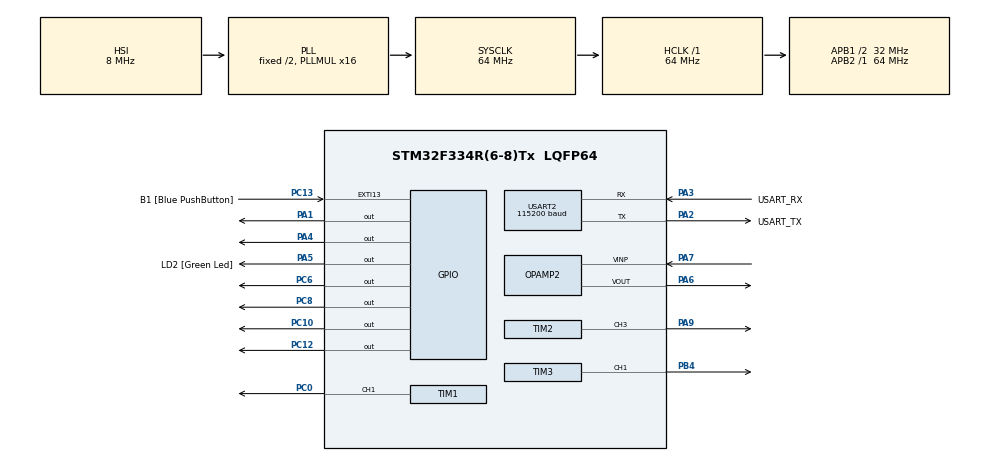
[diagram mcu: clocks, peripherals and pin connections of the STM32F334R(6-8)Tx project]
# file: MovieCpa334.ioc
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ADC2.Channel-0\#ChannelRegularConversion=ADC_CHANNEL_VOPAMP2
ADC2.ClockPrescaler=ADC_CLOCK_ASYNC
ADC2.ContinuousConvMode=ENABLE
ADC2.DMAContinuousRequests=ENABLE
ADC2.DataAlign=ADC_DATAALIGN_RIGHT
ADC2.DiscontinuousConvMode=DISABLE
ADC2.EOCSelection=EOC_SINGLE_CONV
ADC2.EnableAnalogWatchDog1=false
ADC2.EnableAnalogWatchDog2=false
ADC2.EnableAnalogWatchDog3=false
ADC2.EnableInjectedConversion=DISABLE
ADC2.EnableRegularConversion=ENABLE
ADC2.ExternalTrigConvEdge=ADC_EXTERNALTRIGCONVEDGE_NONE
ADC2.LowPowerAutoWait=DISABLE
ADC2.NbrOfConversion=1
ADC2.NbrOfConversionFlag=1
ADC2.Offset-0\#ChannelRegularConversion=0
ADC2.OffsetNumber-0\#ChannelRegularConversion=ADC_OFFSET_NONE
ADC2.Overrun=OVR_DATA_OVERWRITTEN
ADC2.Rank-0\#ChannelRegularConversion=1
ADC2.Resolution=ADC_RESOLUTION12b
ADC2.SamplingTime-0\#ChannelRegularConversion=ADC_SAMPLETIME_601CYCLES_5
ADC2.ScanConvMode=ADC_SCAN_DISABLE
Dma.ADC2.2.Direction=DMA_PERIPH_TO_MEMORY
Dma.ADC2.2.Instance=DMA1_Channel2
Dma.ADC2.2.MemDataAlignment=DMA_MDATAALIGN_HALFWORD
Dma.ADC2.2.MemInc=DMA_MINC_ENABLE
Dma.ADC2.2.Mode=DMA_CIRCULAR
Dma.ADC2.2.PeriphDataAlignment=DMA_PDATAALIGN_HALFWORD
Dma.ADC2.2.PeriphInc=DMA_PINC_DISABLE
Dma.ADC2.2.Priority=DMA_PRIORITY_LOW
Dma.Request0=USART2_RX
Dma.Request1=USART2_TX
Dma.Request2=ADC2
Dma.USART2_RX.0.Direction=DMA_PERIPH_TO_MEMORY
Dma.USART2_RX.0.Instance=DMA1_Channel6
Dma.USART2_RX.0.MemDataAlignment=DMA_MDATAALIGN_BYTE
Dma.USART2_RX.0.MemInc=DMA_MINC_ENABLE
Dma.USART2_RX.0.Mode=DMA_CIRCULAR
Dma.USART2_RX.0.PeriphDataAlignment=DMA_PDATAALIGN_BYTE
Dma.USART2_RX.0.PeriphInc=DMA_PINC_DISABLE
Dma.USART2_RX.0.Priority=DMA_PRIORITY_MEDIUM
Dma.USART2_TX.1.Direction=DMA_MEMORY_TO_PERIPH
Dma.USART2_TX.1.Instance=DMA1_Channel7
Dma.USART2_TX.1.MemDataAlignment=DMA_MDATAALIGN_BYTE
Dma.USART2_TX.1.MemInc=DMA_MINC_ENABLE
Dma.USART2_TX.1.Mode=DMA_NORMAL
Dma.USART2_TX.1.PeriphDataAlignment=DMA_PDATAALIGN_BYTE
Dma.USART2_TX.1.PeriphInc=DMA_PINC_DISABLE
Dma.USART2_TX.1.Priority=DMA_PRIORITY_LOW
Mcu.Family=STM32F3
Mcu.Name=STM32F334R(6-8)Tx
Mcu.Package=LQFP64
NVIC.DMA1_Channel2_IRQn=true\:1\:0\:true
NVIC.DMA1_Channel6_IRQn=true\:2\:0\:true
NVIC.DMA1_Channel7_IRQn=true\:0\:0\:true
NVIC.PriorityGroup=NVIC_PRIORITYGROUP_2
PA1.Signal=GPIO_Output
PA13.GPIO_Label=TMS
PA13.Mode=Serial-Wire
PA13.Signal=SYS_JTMS-SWDIO
PA14.GPIO_Label=TCK
PA14.Mode=Serial-Wire
PA14.Signal=SYS_JTCK-SWCLK
PA2.GPIO_Label=USART_TX
PA2.Mode=Asynchronous
PA2.Signal=USART2_TX
PA3.GPIO_Label=USART_RX
PA3.Mode=Asynchronous
PA3.Signal=USART2_RX
PA4.Signal=GPIO_Output
PA5.GPIO_Label=LD2 [Green Led]
PA5.Signal=GPIO_Output
PA6.Mode=Follower
PA6.Signal=OPAMP2_VOUT
PA7.Mode=Follower
PA7.Signal=OPAMP2_VINP
PA9.Signal=S_TIM2_CH3
PB3.GPIO_Label=SWO
PB3.Signal=SYS_JTDO-TRACESWO
PB4.Signal=S_TIM3_CH1
PC0.Signal=S_TIM1_CH1
PC10.Signal=GPIO_Output
PC12.Signal=GPIO_Output
PC13.GPIO_Label=B1 [Blue PushButton]
PC13.GPIO_ModeDefaultEXTI=GPIO_MODE_EVT_RISING
PC13.Signal=GPXTI13
PC14\ /\ OSC32_IN.Signal=RCC_OSC32_IN
PC15\ /\ OSC32_OUT.GPIO_Label=RCC_OSC32_OUT
PC15\ /\ OSC32_OUT.Signal=RCC_OSC32_OUT
PC6.Signal=GPIO_Output
PC8.Signal=GPIO_Output
PF0\ /\ OSC_IN.Signal=RCC_OSC_IN
PF1\ /\ OSC_OUT.Signal=RCC_OSC_OUT
ProjectManager.HeapSize=0x400
ProjectManager.StackSize=0x200
ProjectManager.TargetToolchain=SW4STM32
RCC.AHBFreq_Value=64000000
RCC.APB1CLKDivider=RCC_HCLK_DIV2
RCC.APB1Freq_Value=32000000
RCC.APB1TimFreq_Value=64000000
RCC.APB2Freq_Value=64000000
RCC.APB2TimFreq_Value=64000000
RCC.CortexFreq_Value=64000000
RCC.FLatency-AdvancedSettings=FLASH_LATENCY_2
RCC.HCLKFreq_Value=64000000
RCC.HSE_VALUE=8000000
RCC.HSI_VALUE=8000000
RCC.LSE_VALUE=32768
RCC.PLLMUL=RCC_PLL_MUL16
RCC.SYSCLKFreq_VALUE=64000000
RCC.SYSCLKSourceVirtual=RCC_SYSCLKSOURCE_PLLCLK
SH.S_TIM1_CH1.0=TIM1_CH1,PWM Generation1 CH1
SH.S_TIM2_CH3.0=TIM2_CH3,PWM Generation3 CH3
SH.S_TIM3_CH1.0=TIM3_CH1,PWM Generation1 CH1
TIM1.ClockDivision=TIM_CLOCKDIVISION_DIV4
TIM1.Period=1000
TIM1.Prescaler=6
TIM1.Pulse-PWM\ Generation1\ CH1=500
TIM2.Channel-PWM\ Generation3\ CH3=TIM_CHANNEL_3
TIM2.ClockDivision=TIM_CLOCKDIVISION_DIV4
TIM2.Period=1000
TIM2.Prescaler=60
TIM2.Pulse-PWM\ Generation3\ CH3=500
USART2.BaudRate=115200
USART2.WordLength=UART_WORDLENGTH_8B
VP_ADC2_OPAMP_INTERNAL2.Mode=IN-OPAMP2
VP_TIM2_VS_ClockSourceINT.Mode=Internal
board=NUCLEO-F334R8

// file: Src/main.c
/**
  ******************************************************************************
  * File Name          : main.c
  * Description        : Main program body
  ******************************************************************************
  *
  * COPYRIGHT(c) 2016 STMicroelectronics
  *
  * Redistribution and use in source and binary forms, with or without modification,
  * are permitted provided that the following conditions are met:
  *   1. Redistributions of source code must retain the above copyright notice,
  *      this list of conditions and the following disclaimer.
  *   2. Redistributions in binary form must reproduce the above copyright notice,
  *      this list of conditions and the following disclaimer in the documentation
  *      and/or other materials provided with the distribution.
  *   3. Neither the name of STMicroelectronics nor the names of its contributors
  *      may be used to endorse or promote products derived from this software
  *      without specific prior written permission.
  *
  * THIS SOFTWARE IS PROVIDED BY THE COPYRIGHT HOLDERS AND CONTRIBUTORS "AS IS"
  * AND ANY EXPRESS OR IMPLIED WARRANTIES, INCLUDING, BUT NOT LIMITED TO, THE
  * IMPLIED WARRANTIES OF MERCHANTABILITY AND FITNESS FOR A PARTICULAR PURPOSE ARE
  * DISCLAIMED. IN NO EVENT SHALL THE COPYRIGHT HOLDER OR CONTRIBUTORS BE LIABLE
  * FOR ANY DIRECT, INDIRECT, INCIDENTAL, SPECIAL, EXEMPLARY, OR CONSEQUENTIAL
  * DAMAGES (INCLUDING, BUT NOT LIMITED TO, PROCUREMENT OF SUBSTITUTE GOODS OR
  * SERVICES; LOSS OF USE, DATA, OR PROFITS; OR BUSINESS INTERRUPTION) HOWEVER
  * CAUSED AND ON ANY THEORY OF LIABILITY, WHETHER IN CONTRACT, STRICT LIABILITY,
  * OR TORT (INCLUDING NEGLIGENCE OR OTHERWISE) ARISING IN ANY WAY OUT OF THE USE
  * OF THIS SOFTWARE, EVEN IF ADVISED OF THE POSSIBILITY OF SUCH DAMAGE.
  *
  ******************************************************************************
  */
#include "stm32f3xx_hal.h"

/* USER CODE BEGIN Includes */
#include <string.h>
#include "stm32f3xx_hal_opamp.h"

// Combinations (steps, prescaler) that work ..... (400,100)
// want 12800 steps per rev
#define SPEED 32
//#define stepsPerRev (400*4*SPEED)
#define stepsPerRev 12800
//#define PRESCALER_VALUE (128/SPEED)
#define PRESCALER_VALUE (64/SPEED)

/**
 * The pushbutton is used in EXTI mode
 * Had to put a handler in the -it.c file and a callback here
 * Not sure how to handle multiple pins in the IRW for pins 10-15
 *
 * The polled version is not fully switchable from this define (yet)
 */

//#define POLLED_PB

/* USER CODE END Includes */

ADC_HandleTypeDef hadc2;
DMA_HandleTypeDef hdma_adc2;

OPAMP_HandleTypeDef hopamp2;

TIM_HandleTypeDef htim1;
TIM_HandleTypeDef htim2;
TIM_HandleTypeDef htim3;

UART_HandleTypeDef huart2;
DMA_HandleTypeDef hdma_usart2_rx;
DMA_HandleTypeDef hdma_usart2_tx;

/* USER CODE BEGIN PV */
/* Private variables ---------------------------------------------------------*/

/* USER CODE END PV */

void SystemClock_Config(void);
static void MX_GPIO_Init(void);
static void MX_DMA_Init(void);
static void MX_ADC2_Init(void);
static void MX_USART2_UART_Init(void);
static void MX_TIM1_Init(void);
static void MX_TIM2_Init(void);
static void MX_TIM3_Init(void);
static void MX_OPAMP2_Init(void);

void HAL_TIM_MspPostInit(TIM_HandleTypeDef *htim);

/* USER CODE BEGIN PFP */

//*	@TODO:  Could not get pushbutton on STM32F334 nucleo working on EXTI

#define POLLED_PB
#ifdef POLLED_PB
void MAIN_pushbutton(void) ;
#endif
static void MAIN_rxChar(char ch);
void MAIN_startMotor(uint32_t frames);
void MAIN_stopMotor(void);

/* Private function prototypes -----------------------------------------------*/

/* USER CODE END PFP */

/* USER CODE BEGIN 0 */
/**
 * Main movie capture
 * ==================
 *
 * This process drives the system
 *
 * 1) The ADC reads the gap sensor tied to the frame advance mechanism
 *        On Interrupt (signal going low through 50%)
 *           The command 'Snap' is sent via USART
 *           The movie is advanced one frame
 *    The Gap sensor is read by DMA (half and full complete)
 *         If it transitioned a threshold, a snap is requested
 *         The motor does not stop
 *     It would be better to use the Analog watchdog
 * 2) Pushing blue button also sends snap
 *
 * 3) user can send one char commands
 *
 * 'S' command (Start) sets the motor going
 * 'E' stops capturing or rewinding
 * 'R' rewinds (second motor)
 *
 * '0' Ends capture or rewind
 * '1'..'9' Frame .... takes one to 9 frames
 *
 *  @TODO:  Accelerate up to a faster speed, decelerate to stop
 *  @TODO:  Wind takeup motor @ speed / 10(start) speed/30 (end)
 *  @TODO: Rewind
 *
 *
 *  @TODO:  Commands for 5 minute, 10 minute, 20 minute reels (ABC)
 *  @TODO:  Best timing for shutter, may have to step beyond Gap sensor
 *
 *
 *	@DONE:  ? help command
 *
 *  OPENCV Capture device
 *  --------------------
 *
 *  The openCV capture device can be pretty simple
 *
 *  1) When it receives 'snap\r\n' it captures a frame
 *  2) Can pass through single character commands
 *  3) Can check for broken film (frame == white) and stop
 *
 *  clock division 4, period 1000, pulse 500
 * htim1.Init.Prescaler = 70; //70;  good // 100; good // 400; very slow  // 50 skipping // 60 noisy
 *
 *
 */

static const char *helpString = "* Main movie capture\r\n"\
		 "* ==================\r\n"\
		 "*\r\n"\
		 "* This process drives the system\r\n"\
		 "*\r\n"\
		 "* 1) The ADC reads the gap sensor tied to the frame advance mechanism\r\n"\
		 "*        On Interrupt (signal going low through 50%)\r\n"\
		 "*           The command 'Snap' is sent via USART\r\n"\
		 "*           The movie is advanced one frame\r\n"\
		 "*    The Gap sensor is read by DMA (half and full complete)\r\n"\
		 "*         If it transitioned a threshold, a snap is requested\r\n"\
		 "*         The motor does not stop\r\n"\
		 "*     It would be better to use the Analog watchdog\r\n"\
		 "* 2) Pushing blue button also sends snap\r\n"\
		 "*\r\n"\
		 "* 3) user can send one char commands\r\n"\
		 "*\r\n"\
		 "* 'S' command (Start) sets the motor going\r\n"\
		 "* 'E' stops capturing or rewinding\r\n"\
		 "* 'R' rewinds (second motor)\r\n"\
		 "*\r\n"\
		 "* '0' Ends capture or rewind\r\n"\
		 "* '1'..'9' Frame .... takes one to 9 frames\r\n"\
		 "*\r\n"\
		 "*  @TODO:  Accelerate up to a faster speed, decelerate to stop\r\n"\
		 "*  @TODO:  Wind takeup motor @ speed / 10(start) speed/30 (end)\r\n"\
		 "*\r\n"\
		 "*  @TODO:  Commands for 5 minute, 10 minute, 20 minute reels (ABC)\r\n"\
		 "*  @DONE:  ? help command\r\n"\
		 "*  @TODO:  BEst timing for shutter\r\n"\
		 "*\r\n"\
		 "*  OPENCV Cpture device\r\n"\
		 "*  --------------------\r\n"\
		 "*\r\n"\
		 "*  The openCV capture device can be pretty simple\r\n"\
		 "*\r\n"\
		 "*  1) When it receives 'snap\r\n' it captures a frame\r\n"\
		 "*  2) Can pass through single character commands\r\n"\
		 "*  3) Can check for broken film (frame == white) and stop\r\n"\
		 "";

/**
 * Only two ADC values are buffered by DMA in circular mode.
 *
 * The Half and Full complete IRQ can process
 *
 * Ideally we get rid of these and use the ADC watchdog to look for a
 *      H->L transition
 */
#define ADC_LEN 100
uint16_t ADC_buffer[ADC_LEN];
char rxChar = 0;

/**
 * Likewise the Rx buffer is just 2 characters,
 *    enabling the reception and processing of individual keystrokes
 *    most are handled in the IRQ itself
 */

/** RUnning has values .. <0 == run continuously
*                          0 == stopped
*							>0 = snap N frames
*/
int32_t MAIN_running = 0;

uint8_t MAIN_rewinding = 0;
uint8_t MAIN_snap = 0;

char UART_RxBuffer[2];

 //	@TODO:  STM libs don't stop USART DMA transfers

void My_UART_Transmit_DMA(UART_HandleTypeDef *huart, uint8_t *pData, uint16_t Size) {
	//while ((HAL_UART_GetState(&huart2) & HAL_UART_STATE_BUSY_TX )== HAL_UART_STATE_BUSY_TX )
	if (HAL_UART_GetState(&huart2) != HAL_UART_STATE_READY)
		    	 HAL_Delay(100);

	HAL_Delay(10);
	huart2.State = HAL_UART_STATE_READY;  // Hal libs 1/3/2016 aren't clearing this on end of DMA Transmit

	HAL_UART_Transmit_DMA(huart, pData, Size);
}
void MAIN_enable(GPIO_PinState val) {
	HAL_GPIO_WritePin(GPIOA,GPIO_PIN_1,val);  // main motor
	if (val== GPIO_PIN_SET) {
		HAL_GPIO_WritePin(GPIOC,GPIO_PIN_6,GPIO_PIN_SET);  // takeup motor
		HAL_GPIO_WritePin(GPIOC,GPIO_PIN_10,GPIO_PIN_RESET);  // rewind motor

	} else {
		HAL_GPIO_WritePin(GPIOC,GPIO_PIN_6,GPIO_PIN_RESET);  // takeup motor
		HAL_GPIO_WritePin(GPIOC,GPIO_PIN_10,GPIO_PIN_SET);  // rewind motor
	}
}

void MAIN_direction(GPIO_PinState val) {
	HAL_GPIO_WritePin(GPIOA,GPIO_PIN_4,val); // main motor
	if (val== GPIO_PIN_SET) {
		HAL_GPIO_WritePin(GPIOC,GPIO_PIN_8,GPIO_PIN_SET);// takeup motor
		HAL_GPIO_WritePin(GPIOC,GPIO_PIN_12,GPIO_PIN_RESET);// rewind motor
	} else {
		HAL_GPIO_WritePin(GPIOC,GPIO_PIN_8,GPIO_PIN_RESET);
		HAL_GPIO_WritePin(GPIOC,GPIO_PIN_12,GPIO_PIN_SET);
	}

}

char * SnapMsgx = "snap                             \r\n";
uint8_t snapADC = 0;
uint8_t snapADCx = 0;

uint8_t snapPoll = 0;
uint8_t snapWatch = 0;

char SnapMsg[35];

/* USER CODE END 0 */

int main(void)
{

  /* USER CODE BEGIN 1 */
	MAIN_running = 0;
	MAIN_rewinding = 0;
	MAIN_snap = 0;

  /* USER CODE END 1 */

  /* MCU Configuration----------------------------------------------------------*/

  /* Reset of all peripherals, Initializes the Flash interface and the Systick. */
  HAL_Init();

  /* Configure the system clock */
  SystemClock_Config();

  /* Initialize all configured peripherals */
  MX_GPIO_Init();
  MX_DMA_Init();
  MX_ADC2_Init();
  MX_USART2_UART_Init();
  MX_TIM1_Init();
  MX_TIM2_Init();
  MX_TIM3_Init();
  MX_OPAMP2_Init();

  /* USER CODE BEGIN 2 */

  //htim1.Instance->PSC = PRESCALER_VALUE;

  HAL_ADC_Start_DMA(&hadc2,(uint32_t * )&ADC_buffer,ADC_LEN);
  HAL_UART_Receive_DMA(&huart2,(uint8_t *) &UART_RxBuffer,2);

  /* USER CODE END 2 */

  /* Infinite loop */
  /* USER CODE BEGIN WHILE */
  // __HAL_GPIO_EXTI_INIT(PORTC,13);  // pushbutton
  //HAL_NVIC_SetPriority((IRQn_Type)(BUTTON_IRQn[Button]), 0x0F, 0x00);
  // HAL_NVIC_EnableIRQ((IRQn_Type)(BUTTON_IRQn[Button]));

  //My_UART_Transmit_DMA(&huart2,(uint8_t *) "Starting Moviecap\r\n",19);

#ifndef POLLED_PB
  HAL_NVIC_SetPriority(EXTI15_10_IRQn,0xf,0);
  HAL_NVIC_EnableIRQ(EXTI15_10_IRQn);

#endif

  //if(HAL_WWDG_Start(&hwwdg) != HAL_OK)
  //{
   // while(-1);
  //}

  while (1)
  {
	  strcpy(SnapMsg,SnapMsgx);
  /* USER CODE END WHILE */

  /* USER CODE BEGIN 3 */
#ifdef POLLED_PB
	  MAIN_pushbutton();
#endif
	//  if(HAL_WWDG_Refresh(&hwwdg, 127) != HAL_OK)
	//    {
	//      while(-1);
	//    }

	  if (MAIN_snap) {
		if ((HAL_UART_GetState(&huart2) & HAL_UART_STATE_BUSY_TX )== HAL_UART_STATE_BUSY_TX )
	    	 HAL_Delay(10);

		huart2.State = HAL_UART_STATE_READY;  // Hal libs 1/3/2016 aren't clearing this on end of DMA Transmit

	    MAIN_snap = 0;

	    if (MAIN_running > 0)
	    	MAIN_running--;

	    if (snapWatch!=0) {
	    	snapWatch=0;
	    	SnapMsg[5] = 'W';
	    }

	    if (snapPoll!=0) {
	    	SnapMsg[6] = 'P';
	    	snapPoll = 0;
	    }

	    if (snapADC!=0) {
	    	SnapMsg[7] = 'A';
	    	snapADC = 0;
	    }

	    if (snapADCx!=0) {
	    	SnapMsg[7] = 'X';
	    	snapADCx = 0;
	    }

	  }
		My_UART_Transmit_DMA(&huart2,(uint8_t *) SnapMsg,strlen(SnapMsg));

	//	MAIN_running--;
		if (MAIN_running == 0) {
			MAIN_stopMotor();
			MAIN_running--;
		} //else //if (MAIN_running > 0) {
			//MAIN_running--;
		//}
		if (rxChar != 0)
			MAIN_rxChar(rxChar);
		//HAL_Delay(10);
  }
  /* USER CODE END 3 */

}

/** System Clock Configuration
*/
void SystemClock_Config(void)
{

  RCC_OscInitTypeDef RCC_OscInitStruct;
  RCC_ClkInitTypeDef RCC_ClkInitStruct;
  RCC_PeriphCLKInitTypeDef PeriphClkInit;

  RCC_OscInitStruct.OscillatorType = RCC_OSCILLATORTYPE_HSI;
  RCC_OscInitStruct.HSIState = RCC_HSI_ON;
  RCC_OscInitStruct.HSICalibrationValue = 16;
  RCC_OscInitStruct.PLL.PLLState = RCC_PLL_ON;
  RCC_OscInitStruct.PLL.PLLSource = RCC_PLLSOURCE_HSI;
  RCC_OscInitStruct.PLL.PLLMUL = RCC_PLL_MUL16;
  HAL_RCC_OscConfig(&RCC_OscInitStruct);

  RCC_ClkInitStruct.ClockType = RCC_CLOCKTYPE_HCLK|RCC_CLOCKTYPE_SYSCLK
                              |RCC_CLOCKTYPE_PCLK1|RCC_CLOCKTYPE_PCLK2;
  RCC_ClkInitStruct.SYSCLKSource = RCC_SYSCLKSOURCE_PLLCLK;
  RCC_ClkInitStruct.AHBCLKDivider = RCC_SYSCLK_DIV1;
  RCC_ClkInitStruct.APB1CLKDivider = RCC_HCLK_DIV2;
  RCC_ClkInitStruct.APB2CLKDivider = RCC_HCLK_DIV1;
  HAL_RCC_ClockConfig(&RCC_ClkInitStruct, FLASH_LATENCY_2);

  PeriphClkInit.PeriphClockSelection = RCC_PERIPHCLK_TIM1|RCC_PERIPHCLK_ADC12;
  PeriphClkInit.Adc12ClockSelection = RCC_ADC12PLLCLK_DIV1;
  PeriphClkInit.Tim1ClockSelection = RCC_TIM1CLK_HCLK;
  HAL_RCCEx_PeriphCLKConfig(&PeriphClkInit);

  HAL_SYSTICK_Config(HAL_RCC_GetHCLKFreq()/1000);

  HAL_SYSTICK_CLKSourceConfig(SYSTICK_CLKSOURCE_HCLK);

  /* SysTick_IRQn interrupt configuration */
  HAL_NVIC_SetPriority(SysTick_IRQn, 0, 2);
}

/* ADC2 init function */
void MX_ADC2_Init(void)
{

  ADC_ChannelConfTypeDef sConfig;

    /**Common config
    */
  hadc2.Instance = ADC2;
  hadc2.Init.ClockPrescaler = ADC_CLOCK_ASYNC;
  hadc2.Init.Resolution = ADC_RESOLUTION12b;
  hadc2.Init.ScanConvMode = ADC_SCAN_DISABLE;
  hadc2.Init.ContinuousConvMode = ENABLE;
  hadc2.Init.DiscontinuousConvMode = DISABLE;
  hadc2.Init.ExternalTrigConvEdge = ADC_EXTERNALTRIGCONVEDGE_NONE;
  hadc2.Init.DataAlign = ADC_DATAALIGN_RIGHT;
  hadc2.Init.NbrOfConversion = 1;
  hadc2.Init.DMAContinuousRequests = ENABLE;
  hadc2.Init.EOCSelection = EOC_SINGLE_CONV;
  hadc2.Init.LowPowerAutoWait = DISABLE;
  hadc2.Init.Overrun = OVR_DATA_OVERWRITTEN;
  HAL_ADC_Init(&hadc2);

    /**Configure Regular Channel
    */
  sConfig.Channel = ADC_CHANNEL_VOPAMP2;
  sConfig.Rank = 1;
  sConfig.SingleDiff = ADC_SINGLE_ENDED;
  sConfig.SamplingTime = ADC_SAMPLETIME_61CYCLES_5;
  sConfig.OffsetNumber = ADC_OFFSET_NONE;
  sConfig.Offset = 0;
  HAL_ADC_ConfigChannel(&hadc2, &sConfig);

}

/* OPAMP2 init function */
void MX_OPAMP2_Init(void)
{

  hopamp2.Instance = OPAMP2;
  hopamp2.Init.Mode = OPAMP_FOLLOWER_MODE;
  hopamp2.Init.NonInvertingInput = OPAMP_NONINVERTINGINPUT_VP0;
  hopamp2.Init.TimerControlledMuxmode = OPAMP_TIMERCONTROLLEDMUXMODE_DISABLE;
  hopamp2.Init.UserTrimming = OPAMP_TRIMMING_FACTORY;
  HAL_OPAMP_Init(&hopamp2);

}

/* TIM1 init function */
void MX_TIM1_Init(void)
{

  TIM_MasterConfigTypeDef sMasterConfig;
  TIM_BreakDeadTimeConfigTypeDef sBreakDeadTimeConfig;
  TIM_OC_InitTypeDef sConfigOC;

  htim1.Instance = TIM1;
  htim1.Init.Prescaler = 6;
  htim1.Init.CounterMode = TIM_COUNTERMODE_UP;
  htim1.Init.Period = 1000;
  htim1.Init.ClockDivision = TIM_CLOCKDIVISION_DIV4;
  htim1.Init.RepetitionCounter = 0;
  HAL_TIM_PWM_Init(&htim1);

  sMasterConfig.MasterOutputTrigger = TIM_TRGO_RESET;
  sMasterConfig.MasterOutputTrigger2 = TIM_TRGO2_RESET;
  sMasterConfig.MasterSlaveMode = TIM_MASTERSLAVEMODE_DISABLE;
  HAL_TIMEx_MasterConfigSynchronization(&htim1, &sMasterConfig);

  sBreakDeadTimeConfig.OffStateRunMode = TIM_OSSR_DISABLE;
  sBreakDeadTimeConfig.OffStateIDLEMode = TIM_OSSI_DISABLE;
  sBreakDeadTimeConfig.LockLevel = TIM_LOCKLEVEL_OFF;
  sBreakDeadTimeConfig.DeadTime = 0;
  sBreakDeadTimeConfig.BreakState = TIM_BREAK_DISABLE;
  sBreakDeadTimeConfig.BreakPolarity = TIM_BREAKPOLARITY_HIGH;
  sBreakDeadTimeConfig.BreakFilter = 0;
  sBreakDeadTimeConfig.Break2State = TIM_BREAK2_DISABLE;
  sBreakDeadTimeConfig.Break2Polarity = TIM_BREAK2POLARITY_HIGH;
  sBreakDeadTimeConfig.Break2Filter = 0;
  sBreakDeadTimeConfig.AutomaticOutput = TIM_AUTOMATICOUTPUT_DISABLE;
  HAL_TIMEx_ConfigBreakDeadTime(&htim1, &sBreakDeadTimeConfig);

  sConfigOC.OCMode = TIM_OCMODE_PWM1;
  sConfigOC.Pulse = 500;
  sConfigOC.OCPolarity = TIM_OCPOLARITY_HIGH;
  sConfigOC.OCNPolarity = TIM_OCNPOLARITY_HIGH;
  sConfigOC.OCFastMode = TIM_OCFAST_DISABLE;
  sConfigOC.OCIdleState = TIM_OCIDLESTATE_RESET;
  sConfigOC.OCNIdleState = TIM_OCNIDLESTATE_RESET;
  HAL_TIM_PWM_ConfigChannel(&htim1, &sConfigOC, TIM_CHANNEL_1);

  HAL_TIM_MspPostInit(&htim1);

}

/* TIM2 init function */
void MX_TIM2_Init(void)
{

  TIM_ClockConfigTypeDef sClockSourceConfig;
  TIM_MasterConfigTypeDef sMasterConfig;
  TIM_OC_InitTypeDef sConfigOC;

  htim2.Instance = TIM2;
  htim2.Init.Prescaler = 60;
  htim2.Init.CounterMode = TIM_COUNTERMODE_UP;
  htim2.Init.Period = 1000;
  htim2.Init.ClockDivision = TIM_CLOCKDIVISION_DIV4;
  HAL_TIM_Base_Init(&htim2);

  sClockSourceConfig.ClockSource = TIM_CLOCKSOURCE_INTERNAL;
  HAL_TIM_ConfigClockSource(&htim2, &sClockSourceConfig);

  HAL_TIM_PWM_Init(&htim2);

  sMasterConfig.MasterOutputTrigger = TIM_TRGO_RESET;
  sMasterConfig.MasterSlaveMode = TIM_MASTERSLAVEMODE_DISABLE;
  HAL_TIMEx_MasterConfigSynchronization(&htim2, &sMasterConfig);

  sConfigOC.OCMode = TIM_OCMODE_PWM1;
  sConfigOC.Pulse = 500;
  sConfigOC.OCPolarity = TIM_OCPOLARITY_HIGH;
  sConfigOC.OCFastMode = TIM_OCFAST_DISABLE;
  HAL_TIM_PWM_ConfigChannel(&htim2, &sConfigOC, TIM_CHANNEL_3);

  HAL_TIM_MspPostInit(&htim2);

}

/* TIM3 init function */
void MX_TIM3_Init(void)
{

  TIM_MasterConfigTypeDef sMasterConfig;
  TIM_OC_InitTypeDef sConfigOC;

  htim3.Instance = TIM3;
  htim3.Init.Prescaler = 0;
  htim3.Init.CounterMode = TIM_COUNTERMODE_UP;
  htim3.Init.Period = 0;
  htim3.Init.ClockDivision = TIM_CLOCKDIVISION_DIV1;
  HAL_TIM_PWM_Init(&htim3);

  sMasterConfig.MasterOutputTrigger = TIM_TRGO_RESET;
  sMasterConfig.MasterSlaveMode = TIM_MASTERSLAVEMODE_DISABLE;
  HAL_TIMEx_MasterConfigSynchronization(&htim3, &sMasterConfig);

  sConfigOC.OCMode = TIM_OCMODE_PWM1;
  sConfigOC.Pulse = 0;
  sConfigOC.OCPolarity = TIM_OCPOLARITY_HIGH;
  sConfigOC.OCFastMode = TIM_OCFAST_DISABLE;
  HAL_TIM_PWM_ConfigChannel(&htim3, &sConfigOC, TIM_CHANNEL_1);

  HAL_TIM_MspPostInit(&htim3);

}

/* USART2 init function */
void MX_USART2_UART_Init(void)
{

  huart2.Instance = USART2;
  huart2.Init.BaudRate = 115200;
  huart2.Init.WordLength = UART_WORDLENGTH_8B;
  huart2.Init.StopBits = UART_STOPBITS_1;
  huart2.Init.Parity = UART_PARITY_NONE;
  huart2.Init.Mode = UART_MODE_TX_RX;
  huart2.Init.HwFlowCtl = UART_HWCONTROL_NONE;
  huart2.Init.OverSampling = UART_OVERSAMPLING_16;
  huart2.Init.OneBitSampling = UART_ONEBIT_SAMPLING_DISABLED ;
  huart2.AdvancedInit.AdvFeatureInit = UART_ADVFEATURE_NO_INIT;
  HAL_UART_Init(&huart2);

}

void MX_DMA_Init(void)
{
  /* DMA controller clock enable */
  __DMA1_CLK_ENABLE();

  /* DMA interrupt init */
  HAL_NVIC_SetPriority(DMA1_Channel2_IRQn, 1, 0);
  HAL_NVIC_EnableIRQ(DMA1_Channel2_IRQn);
  HAL_NVIC_SetPriority(DMA1_Channel6_IRQn, 2, 0);
  HAL_NVIC_EnableIRQ(DMA1_Channel6_IRQn);
  HAL_NVIC_SetPriority(DMA1_Channel7_IRQn, 0, 0);
  HAL_NVIC_EnableIRQ(DMA1_Channel7_IRQn);

}

/** Configure pins as
        * Analog
        * Input
        * Output
        * EVENT_OUT
        * EXTI
*/
void MX_GPIO_Init(void)
{

  GPIO_InitTypeDef GPIO_InitStruct;

  /* GPIO Ports Clock Enable */
  __GPIOC_CLK_ENABLE();
  __GPIOF_CLK_ENABLE();
  __GPIOA_CLK_ENABLE();
  __GPIOB_CLK_ENABLE();

  /*Configure GPIO pin : B1_Pin */
  GPIO_InitStruct.Pin = B1_Pin;
  GPIO_InitStruct.Mode = GPIO_MODE_EVT_RISING;
  GPIO_InitStruct.Pull = GPIO_NOPULL;
  HAL_GPIO_Init(B1_GPIO_Port, &GPIO_InitStruct);

  /*Configure GPIO pins : PA1 PA4 LD2_Pin */
  GPIO_InitStruct.Pin = GPIO_PIN_1|GPIO_PIN_4|LD2_Pin;
  GPIO_InitStruct.Mode = GPIO_MODE_OUTPUT_PP;
  GPIO_InitStruct.Pull = GPIO_NOPULL;
  GPIO_InitStruct.Speed = GPIO_SPEED_LOW;
  HAL_GPIO_Init(GPIOA, &GPIO_InitStruct);

  /*Configure GPIO pins : PC6 PC8 PC10 PC12 */
  GPIO_InitStruct.Pin = GPIO_PIN_6|GPIO_PIN_8|GPIO_PIN_10|GPIO_PIN_12;
  GPIO_InitStruct.Mode = GPIO_MODE_OUTPUT_PP;
  GPIO_InitStruct.Pull = GPIO_NOPULL;
  GPIO_InitStruct.Speed = GPIO_SPEED_LOW;
  HAL_GPIO_Init(GPIOC, &GPIO_InitStruct);

  /*Configure GPIO pin Output Level */
  HAL_GPIO_WritePin(GPIOA, GPIO_PIN_1|GPIO_PIN_4|LD2_Pin, GPIO_PIN_RESET);

  /*Configure GPIO pin Output Level */
  HAL_GPIO_WritePin(GPIOC, GPIO_PIN_6|GPIO_PIN_8|GPIO_PIN_10|GPIO_PIN_12, GPIO_PIN_RESET);

}

/* USER CODE BEGIN 4 */
// ***********************************************   UART Rx ......
static void MAIN_rxChar(char ch) {
	uint32_t i,k;
	//volatile uint32_t j;
	switch (ch) {

	case 'E':
	case 'e':
	case '0':// MAIN_running = 0;
				MAIN_stopMotor();
			  break;

	case 'O':
	case 'o':
		for (k=0; k < 100; k++) {
			for(i=0; i < 1600; i++) {
				HAL_GPIO_TogglePin(GPIOB,GPIO_PIN_0);
				HAL_Delay(10);
				//for(j=0; j < 20000; j++);
			}
		//for (j=0; j < 0; j++);
			HAL_Delay(1000);
		}

	break;

	case 'R':
	case 'r': MAIN_rewinding = 1;
			break;

	case 'S' :
	case 's' : //if (MAIN_running == 0) {
				//MAIN_running = -1;
				MAIN_startMotor(5*60*18);  // 5 minutes of frames
				//}
			break;

	case '?': My_UART_Transmit_DMA(&huart2,(uint8_t *) helpString, strlen(helpString));
		break;

	case '1' :  // these may be better as minutes of capture
	case '2' :
	case '3' :
	case '4' :
	case '5' :
	case '6' :
	case '7' :
	case '8' :
	case '9' :
		if (MAIN_running <= 0) {
					//MAIN_running = ch - '0';
					MAIN_startMotor(ch-'0');  // 5 minutes of frames
					}
		break;

	}
	rxChar = 0;
}

void HAL_UART_RxCpltCallback(UART_HandleTypeDef *huart){
	//MAIN_rxChar(UART_RxBuffer[1]);
	rxChar = UART_RxBuffer[1];
}

void HAL_UART_RxHalfCpltCallback(UART_HandleTypeDef *huart) {
	//MAIN_rxChar(UART_RxBuffer[0]);
	rxChar = UART_RxBuffer[0];
}

void HAL_UART_TxCpltCallback(UART_HandleTypeDef *huart){}

void HAL_UART_TxHalfCpltCallback(UART_HandleTypeDef *huart){}

//***********************************************************************************
// ************************************************************* ADC handling
// really like to do this with a watchdog

// @TODO Analog watchdog not working

static 	uint16_t ltMinADC=4096;
static uint16_t ltMaxADC=0;

void itoar(uint16_t val, char *str) {
	while(val) {
		*str-- = '0' + val%10;
		val /=10;
	}
}

#define ADC_LOW 1500
#define ADC_HIGH 2500

void MAIN_ADC_handler(uint16_t index) {
	static uint16_t MAIN_lastADC=0;
	    uint16_t minADC;
		uint16_t maxADC;

		//uint16_t x;

	uint16_t x;// =  ADC_buffer[index];
	minADC = maxADC = ADC_buffer[index];

	uint16_t cnt = 0;
	for (cnt=0; cnt < ADC_LEN/2; cnt++) {
		x = ADC_buffer[index+cnt];

		if (x > ADC_HIGH)
			if (MAIN_lastADC < ADC_LOW) {
			//HAL_TIM_PWM_Stop(&htim1,TIM_CHANNEL_1);
				MAIN_snap = 1;
				snapADC = 1;
		}
		if (x < minADC) minADC = x;
		if (x > maxADC) maxADC = x;
	}
//	if ((minADC < ADC_LOW) && (maxADC > ADC_HIGH)) {
	if (maxADC > ADC_HIGH) {
		MAIN_snap = 1;
		snapADCx = 1;
	}

	MAIN_lastADC = x;
	if (ltMinADC > minADC) ltMinADC = minADC;
	if (ltMaxADC < maxADC) ltMaxADC = maxADC;

	itoar(minADC,&SnapMsg[15]);
	itoar(maxADC,&SnapMsg[25]);

}

void HAL_ADC_ConvHalfCpltCallback(ADC_HandleTypeDef* hadc) {
	MAIN_ADC_handler(0);
}

void HAL_ADC_ConvCpltCallback(ADC_HandleTypeDef* hadc) {
	MAIN_ADC_handler(ADC_LEN/2);
}

void HAL_ADC_LevelOutOfWindowCallback(ADC_HandleTypeDef * hadc) {
	static uint8_t blocked = 0;
	//@TODO:   how do we know which transition occurred?
	if ((hadc->Instance->DR < 2000) && (blocked == 0)) {// going negative
		MAIN_snap = 1;
		snapWatch = 1;

	    blocked =1;
	} else {
		//snapWatch=0;
		if (hadc->Instance->DR > 2200) // must go positive before we take another pic
		blocked = 0;

	}
}
#ifdef USE_WWDG
void HAL_WWDG_Callback(WWDG_HandleTypeDef *wwdg) {
	uint32_t x = wwdg->Instance->CR;

}
#endif

// hard fault handler in C,
// with stack frame location as input parameter
// called from HardFault_Handler in file xxx.s
char errors[16][80];
void hard_fault_handler_c (unsigned int * hardfault_args)
{
  unsigned int stacked_r0;
  unsigned int stacked_r1;
  unsigned int stacked_r2;
  unsigned int stacked_r3;
  unsigned int stacked_r12;
  unsigned int stacked_lr;
  unsigned int stacked_pc;
  unsigned int stacked_psr;

  stacked_r0 = ((unsigned long) hardfault_args[0]);
  stacked_r1 = ((unsigned long) hardfault_args[1]);
  stacked_r2 = ((unsigned long) hardfault_args[2]);
  stacked_r3 = ((unsigned long) hardfault_args[3]);

  stacked_r12 = ((unsigned long) hardfault_args[4]);
  stacked_lr = ((unsigned long) hardfault_args[5]);
  stacked_pc = ((unsigned long) hardfault_args[6]);
  stacked_psr = ((unsigned long) hardfault_args[7]);

  sprintf (errors[0],"\n\n[Hard fault handler - all numbers in hex]\n");
  sprintf (errors[1],"R0 = %x\n", stacked_r0);
  sprintf (errors[2],"R1 = %x\n", stacked_r1);
  sprintf (errors[3],"R2 = %x\n", stacked_r2);
  sprintf (errors[4],"R3 = %x\n", stacked_r3);
  sprintf (errors[5],"R12 = %x\n", stacked_r12);
  sprintf (errors[6],"LR [R14] = %x  subroutine call return address\n", stacked_lr);
  sprintf (errors[7],"PC [R15] = %x  program counter\n", stacked_pc);
  sprintf (errors[8],"PSR = %x\n", stacked_psr);
  sprintf (errors[9],"BFAR = %x\n", (*((volatile unsigned long *)(0xE000ED38))));
  sprintf (errors[10],"CFSR = %x\n", (*((volatile unsigned long *)(0xE000ED28))));
  sprintf (errors[11],"HFSR = %x\n", (*((volatile unsigned long *)(0xE000ED2C))));
  sprintf (errors[12],"DFSR = %x\n", (*((volatile unsigned long *)(0xE000ED30))));
  sprintf (errors[13],"AFSR = %x\n", (*((volatile unsigned long *)(0xE000ED3C))));
  sprintf (errors[14],"SCB_SHCSR = %x\n",(unsigned int) SCB->SHCSR);
  sprintf (errors[15],"minADC %d   maxADC %d\n",ltMinADC, ltMaxADC);

  while (1);
}

void WWDG_IRQHandlerx(void) {
	while(-1);
}

void UsageFault_Handlerx(void) {
	while(-1);
}

void BusFault_Handler(void) {
	  __asm volatile (
	    " movs r0,#4       \n"
	    " movs r1, lr      \n"
	    " tst r0, r1       \n"
	    " beq _MSP         \n"
	    " mrs r0, psp      \n"
	    " b _HALT          \n"
	  "_MSP:               \n"
	    " mrs r0, msp      \n"
		" mrs r3, psr      \n"
	  "_HALT:              \n"
	    " ldr r1,[r0,#20]  \n"
	    " bkpt #0          \n"
	  );
	while(-1);
}

void MemMang_Handler(void) {
	  __asm volatile (
	    " movs r0,#4       \n"
	    " movs r1, lr      \n"
	    " tst r0, r1       \n"
	    " beq _MSP1         \n"
	    " mrs r0, psp      \n"
	    " b _HALT1          \n"
	  "_MSP1:               \n"
	    " mrs r0, msp      \n"
		" mrs r3, psr      \n"
	  "_HALT1:              \n"
	    " ldr r1,[r0,#20]  \n"
	    " bkpt #0          \n"
	  );
	while(-1);
}

void HardFault_Handler(void) {
#ifdef NEVER
	/* Load the address of the interrupt control register into r3. */
	  asm("ldr r3, IPSR"); //NVIC_INT_CTRL_CONST
	  /* Load the value of the interrupt control register into r2 from the
	  address held in r3. */
	  asm("ldr r2, [r3, #0]");
	  /* The interrupt number is in the least significant byte - clear all
	  other bits. */
	  asm("uxtb r2, r2");

DefaultHandler:
      movs r0,#4
	     movs r1, lr
	     tst r0, r1
	     beq _MSP
	     mrs r0, psp
	     b _HALT
	     _MSP:
	     mrs r0, msp
	     mrs r3,ipsr	// number of IRQ handler being serviced
	     _HALT:
	     ldr r1,[r0,#20]
	     bkpt #0

	  __asm volatile (
	    " movs r0,#4       \n"
	    " movs r1, lr      \n"
	    " tst r0, r1       \n"
	    " beq _MSP2         \n"
	    " mrs r0, psp      \n"
	    " b _HALT2          \n"
	  "_MSP2:               \n"
	    " mrs r0, msp      \n"
		" mrs r3, psr      \n"
	  "_HALT2:              \n"
	    " ldr r1,[r0,#20]  \n"
	    " bkpt #0          \n"
	  );
#endif
	     __asm volatile (
	       " TST LR, #4 \n"
	       " ITE EQ \n"
	       " MRSEQ R0, MSP \n"
	       " MRSNE R0, PSP \n"
	       " B hard_fault_handler_c \n"
		   );
}

//void DMA1_Channel7_IRQHandler(void) {
//	while(-1);
//}

void ADC1_2_IRQHandler(void) {
	while(-1);
}
// **********************************************************************
// ******************************************************** Pushbutton
//  Debounce   we poll 10 times for low in a row
#ifdef POLLED_PB
uint8_t MAIN_PBState = 0;

void MAIN_pushbutton(void) {

	if (HAL_GPIO_ReadPin(GPIOC,GPIO_PIN_13) == GPIO_PIN_RESET) {
		MAIN_PBState++;
		if (MAIN_PBState >=10) {
			//MAIN_snap = 1;
			MAIN_startMotor(1);
			//MAIN_running = 1;
		}
	} else {
		MAIN_PBState = 0;
	}
}
#else
/**
 * To get this to work, initialise the pin in EXTI mode, Rising / Falling
 *
 * This has been done for us already
 */
void HAL_GPIO_EXTI_Callback(uint16_t GPIO_Pin) {
	if (GPIO_Pin == B1_Pin) {
		MAIN_snap = 1;
		MAIN_startMotor(1);
		MAIN_running = 1;
	}
}
#endif
// **********************************************************************
// Stepper controls
/**
 * The stepper must know how to do exactly one rev
 *
 * Most of the time though, it will run continuously
 */

/**
 * IRQ on GAP sensor
 */
void MAIN_GAP_handler(void) {
	MAIN_snap = 1;
	if (MAIN_running > 0) {
		MAIN_snap = 1;
		snapPoll = 1;
	} else {
		MAIN_stopMotor();
	};

}

void MAIN_startMotor(uint32_t frames) {
	MAIN_direction(GPIO_PIN_RESET);
	MAIN_enable(GPIO_PIN_SET);

	MAIN_running = frames;
	htim1.Instance->RCR = frames * stepsPerRev;

	//HAL_TIM_Base_Start(&htim1);
	if (HAL_TIM_PWM_Start(&htim1, TIM_CHANNEL_1) == HAL_OK) {
	//		My_UART_Transmit_DMA(&huart2,(uint8_t *) "Frame Motor Started ",15);
	       /* PWM Generation Error */
	     } else {
	//    	My_UART_Transmit_DMA(&huart2,(uint8_t *) "Frame Motor Did not Start",15);

	     }

	if (HAL_TIM_PWM_Start(&htim2, TIM_CHANNEL_3) == HAL_OK) {
	//		My_UART_Transmit_DMA(&huart2,(uint8_t *) ",Takeup  Started\r\n",15);
	       /* PWM Generation Error */
	     } else {
	//    	My_UART_Transmit_DMA(&huart2,(uint8_t *) ",Takeup Motor Did not Start\r\n",15);

	     }

	if (HAL_TIM_PWM_Start(&htim3, TIM_CHANNEL_1) == HAL_OK) {
	//			My_UART_Transmit_DMA(&huart2,(uint8_t *) ",Rewind  Started\r\n",15);
		       /* PWM Generation Error */
		     } else {
	//	    	My_UART_Transmit_DMA(&huart2,(uint8_t *) ",Rewind Motor Did not Start\r\n",15);

		     }
}

void MAIN_stopMotor() {
	HAL_TIM_PWM_Stop(&htim1,TIM_CHANNEL_1);

	HAL_TIM_PWM_Stop(&htim2,TIM_CHANNEL_3);

	HAL_TIM_PWM_Stop(&htim3,TIM_CHANNEL_1);
	//HAL_TIM_PWM_Stop(&htim3,TIM_CHANNEL_2);

	MAIN_enable(GPIO_PIN_RESET);
	//htim1.Instance->CNT = 0;
	htim1.Instance->RCR = 0;
	MAIN_running = 0;
	//My_UART_Transmit_DMA(&huart2,(uint8_t *) "Motors Stopped\r\n",15);
}

//HAL_TIM_PWM_PulseFinishedCallback();
// HAL_TIM_PeriodElapsedCallback();

/* USER CODE END 4 */

/************************ (C) COPYRIGHT STMicroelectronics *****END OF FILE****/
